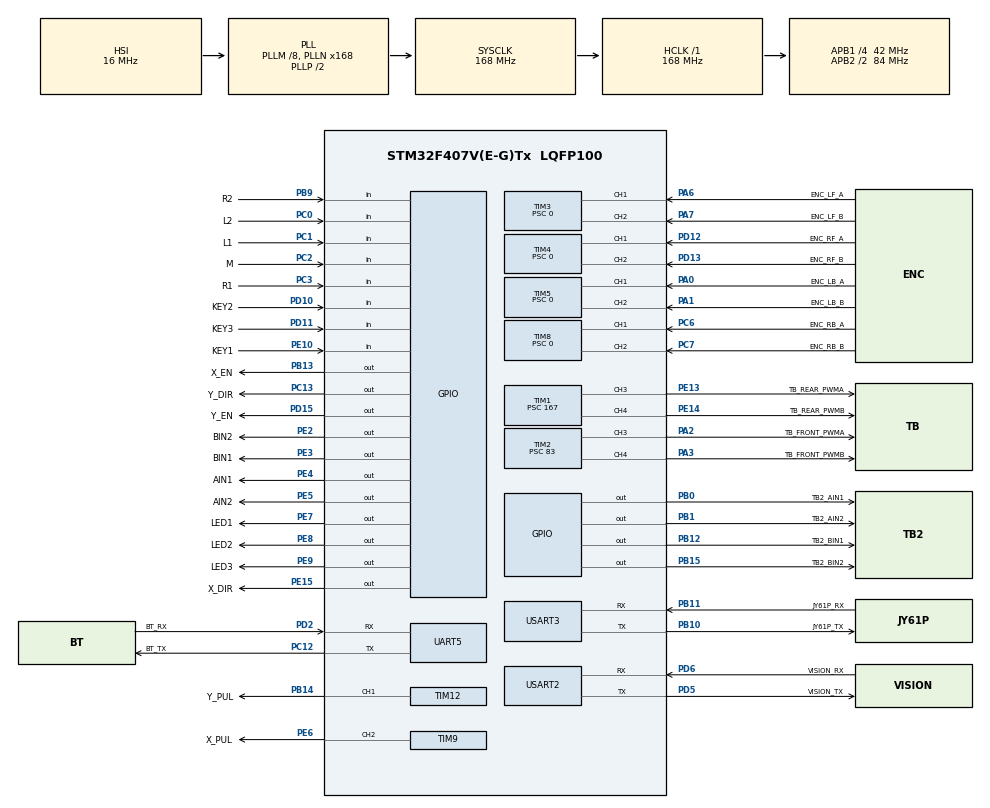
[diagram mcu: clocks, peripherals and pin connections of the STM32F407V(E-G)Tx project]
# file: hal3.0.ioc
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Dma.Request0=USART3_RX
Dma.Request1=UART5_RX
Dma.UART5_RX.0.Channel=DMA_CHANNEL_4
Dma.UART5_RX.0.Direction=DMA_PERIPH_TO_MEMORY
Dma.UART5_RX.0.FIFOMode=DMA_FIFOMODE_DISABLE
Dma.UART5_RX.0.Instance=DMA1_Stream0
Dma.UART5_RX.0.MemDataAlignment=DMA_MDATAALIGN_BYTE
Dma.UART5_RX.0.MemInc=DMA_MINC_ENABLE
Dma.UART5_RX.0.Mode=DMA_NORMAL
Dma.UART5_RX.0.PeriphDataAlignment=DMA_PDATAALIGN_BYTE
Dma.UART5_RX.0.PeriphInc=DMA_PINC_DISABLE
Dma.UART5_RX.0.Priority=DMA_PRIORITY_HIGH
Dma.USART3_RX.0.Direction=DMA_PERIPH_TO_MEMORY
Dma.USART3_RX.0.FIFOMode=DMA_FIFOMODE_DISABLE
Dma.USART3_RX.0.Instance=DMA1_Stream1
Dma.USART3_RX.0.MemDataAlignment=DMA_MDATAALIGN_BYTE
Dma.USART3_RX.0.MemInc=DMA_MINC_ENABLE
Dma.USART3_RX.0.Mode=DMA_NORMAL
Dma.USART3_RX.0.PeriphDataAlignment=DMA_PDATAALIGN_BYTE
Dma.USART3_RX.0.PeriphInc=DMA_PINC_DISABLE
Dma.USART3_RX.0.Priority=DMA_PRIORITY_HIGH
Mcu.Family=STM32F4
Mcu.Name=STM32F407V(E-G)Tx
Mcu.Package=LQFP100
NVIC.DMA1_Stream0_IRQn=true\:0\:0\:false\:false\:true\:false\:true\:true
NVIC.DMA1_Stream1_IRQn=true\:0\:0\:false\:false\:true\:false\:true\:true
NVIC.PriorityGroup=NVIC_PRIORITYGROUP_4
NVIC.TIM1_UP_TIM10_IRQn=true\:4\:0\:true\:false\:true\:true\:true\:true
NVIC.TIM6_DAC_IRQn=true\:3\:0\:true\:false\:true\:true\:true\:true
NVIC.UART5_IRQn=true\:2\:0\:true\:false\:true\:true\:true\:true
NVIC.USART2_IRQn=true\:2\:0\:true\:false\:true\:true\:true\:true
NVIC.USART3_IRQn=true\:2\:0\:true\:false\:true\:true\:true\:true
PA0-WKUP.GPIO_Label=ENC_LB_A
PA0-WKUP.GPIO_PuPd=GPIO_PULLUP
PA0-WKUP.Signal=S_TIM5_CH1
PA1.GPIO_Label=ENC_LB_B
PA1.GPIO_PuPd=GPIO_PULLUP
PA1.Signal=S_TIM5_CH2
PA13.Mode=Serial_Wire
PA13.Signal=SYS_JTMS-SWDIO
PA14.Mode=Serial_Wire
PA14.Signal=SYS_JTCK-SWCLK
PA2.GPIO_Label=TB_FRONT_PWMA
PA2.Signal=S_TIM2_CH3
PA3.GPIO_Label=TB_FRONT_PWMB
PA3.Signal=S_TIM2_CH4
PA6.GPIO_Label=ENC_LF_A
PA6.GPIO_PuPd=GPIO_PULLUP
PA6.Signal=S_TIM3_CH1
PA7.GPIO_Label=ENC_LF_B
PA7.GPIO_PuPd=GPIO_PULLUP
PA7.Signal=S_TIM3_CH2
PB0.GPIO_Label=TB2_AIN1
PB0.GPIO_Speed=GPIO_SPEED_FREQ_HIGH
PB0.Signal=GPIO_Output
PB1.GPIO_Label=TB2_AIN2
PB1.GPIO_Speed=GPIO_SPEED_FREQ_HIGH
PB1.Signal=GPIO_Output
PB10.GPIO_Label=JY61P_TX
PB10.Mode=Asynchronous
PB10.Signal=USART3_TX
PB11.GPIO_Label=JY61P_RX
PB11.Mode=Asynchronous
PB11.Signal=USART3_RX
PB12.GPIO_Label=TB2_BIN1
PB12.GPIO_Speed=GPIO_SPEED_FREQ_HIGH
PB12.Signal=GPIO_Output
PB13.GPIO_Label=X_EN
PB13.GPIO_PuPd=GPIO_PULLDOWN
PB13.Signal=GPIO_Output
PB14.GPIO_Label=Y_PUL
PB14.Signal=S_TIM12_CH1
PB15.GPIO_Label=TB2_BIN2
PB15.GPIO_Speed=GPIO_SPEED_FREQ_HIGH
PB15.Signal=GPIO_Output
PB9.GPIO_Label=R2
PB9.Signal=GPIO_Input
PC0.GPIO_Label=L2
PC0.Signal=GPIO_Input
PC1.GPIO_Label=L1
PC1.Signal=GPIO_Input
PC12.GPIO_Label=BT_TX
PC12.Mode=Asynchronous
PC12.Signal=UART5_TX
PC13-ANTI_TAMP.GPIO_Label=Y_DIR
PC13-ANTI_TAMP.GPIO_PuPd=GPIO_PULLDOWN
PC13-ANTI_TAMP.Signal=GPIO_Output
PC2.GPIO_Label=M
PC2.Signal=GPIO_Input
PC3.GPIO_Label=R1
PC3.Signal=GPIO_Input
PC6.GPIO_Label=ENC_RB_A
PC6.GPIO_PuPd=GPIO_PULLUP
PC6.Signal=S_TIM8_CH1
PC7.GPIO_Label=ENC_RB_B
PC7.GPIO_PuPd=GPIO_PULLUP
PC7.Signal=S_TIM8_CH2
PD10.GPIO_Label=KEY2
PD10.Signal=GPIO_Input
PD11.GPIO_Label=KEY3
PD11.Signal=GPIO_Input
PD12.GPIO_Label=ENC_RF_A
PD12.GPIO_PuPd=GPIO_PULLUP
PD12.Signal=S_TIM4_CH1
PD13.GPIO_Label=ENC_RF_B
PD13.GPIO_PuPd=GPIO_PULLUP
PD13.Signal=S_TIM4_CH2
PD15.GPIO_Label=Y_EN
PD15.GPIO_PuPd=GPIO_PULLDOWN
PD15.Signal=GPIO_Output
PD2.GPIO_Label=BT_RX
PD2.Mode=Asynchronous
PD2.Signal=UART5_RX
PD5.GPIO_Label=VISION_TX
PD5.Mode=Asynchronous
PD5.Signal=USART2_TX
PD6.GPIO_Label=VISION_RX
PD6.Mode=Asynchronous
PD6.Signal=USART2_RX
PE10.GPIO_Label=KEY1
PE10.Signal=GPIO_Input
PE13.GPIO_Label=TB_REAR_PWMA
PE13.Signal=S_TIM1_CH3
PE14.GPIO_Label=TB_REAR_PWMB
PE14.Signal=S_TIM1_CH4
PE15.GPIO_Label=X_DIR
PE15.GPIO_PuPd=GPIO_PULLDOWN
PE15.Signal=GPIO_Output
PE2.GPIO_Label=BIN2
PE2.GPIO_Speed=GPIO_SPEED_FREQ_HIGH
PE2.Signal=GPIO_Output
PE3.GPIO_Label=BIN1
PE3.GPIO_Speed=GPIO_SPEED_FREQ_HIGH
PE3.Signal=GPIO_Output
PE4.GPIO_Label=AIN1
PE4.GPIO_Speed=GPIO_SPEED_FREQ_HIGH
PE4.Signal=GPIO_Output
PE5.GPIO_Label=AIN2
PE5.GPIO_Speed=GPIO_SPEED_FREQ_HIGH
PE5.Signal=GPIO_Output
PE6.GPIO_Label=X_PUL
PE6.Signal=S_TIM9_CH2
PE7.GPIO_Label=LED1
PE7.Signal=GPIO_Output
PE8.GPIO_Label=LED2
PE8.Signal=GPIO_Output
PE9.GPIO_Label=LED3
PE9.Signal=GPIO_Output
PH0-OSC_IN.Mode=HSE-External-Oscillator
PH0-OSC_IN.Signal=RCC_OSC_IN
PH1-OSC_OUT.Mode=HSE-External-Oscillator
PH1-OSC_OUT.Signal=RCC_OSC_OUT
ProjectManager.HeapSize=0x200
ProjectManager.StackSize=0x400
ProjectManager.TargetToolchain=CMake
RCC.48MHZClocksFreq_Value=84000000
RCC.AHBFreq_Value=168000000
RCC.APB1CLKDivider=RCC_HCLK_DIV4
RCC.APB1Freq_Value=42000000
RCC.APB1TimFreq_Value=84000000
RCC.APB2CLKDivider=RCC_HCLK_DIV2
RCC.APB2Freq_Value=84000000
RCC.APB2TimFreq_Value=168000000
RCC.CortexFreq_Value=168000000
RCC.HCLKFreq_Value=168000000
RCC.HSE_VALUE=8000000
RCC.HSI_VALUE=16000000
RCC.LSE_VALUE=32768
RCC.PLLM=8
RCC.PLLN=168
RCC.SYSCLKFreq_VALUE=168000000
RCC.SYSCLKSource=RCC_SYSCLKSOURCE_PLLCLK
RCC.VCOOutputFreq_Value=336000000
SH.S_TIM12_CH1.0=TIM12_CH1,PWM Generation1 CH1
SH.S_TIM1_CH3.0=TIM1_CH3,PWM Generation3 CH3
SH.S_TIM1_CH4.0=TIM1_CH4,PWM Generation4 CH4
SH.S_TIM2_CH3.0=TIM2_CH3,PWM Generation3 CH3
SH.S_TIM2_CH4.0=TIM2_CH4,PWM Generation4 CH4
SH.S_TIM3_CH1.0=TIM3_CH1,Encoder_Interface
SH.S_TIM3_CH2.0=TIM3_CH2,Encoder_Interface
SH.S_TIM4_CH1.0=TIM4_CH1,Encoder_Interface
SH.S_TIM4_CH2.0=TIM4_CH2,Encoder_Interface
SH.S_TIM5_CH1.0=TIM5_CH1,Encoder_Interface
SH.S_TIM5_CH2.0=TIM5_CH2,Encoder_Interface
SH.S_TIM8_CH1.0=TIM8_CH1,Encoder_Interface
SH.S_TIM8_CH2.0=TIM8_CH2,Encoder_Interface
SH.S_TIM9_CH2.0=TIM9_CH2,PWM Generation2 CH2
TIM1.AutoReloadPreload=TIM_AUTORELOAD_PRELOAD_ENABLE
TIM1.Channel-PWM\ Generation3\ CH3=TIM_CHANNEL_3
TIM1.Channel-PWM\ Generation4\ CH4=TIM_CHANNEL_4
TIM1.Period=8399
TIM1.Prescaler=167
TIM1.Pulse-PWM\ Generation3\ CH3=0
TIM1.Pulse-PWM\ Generation4\ CH4=0
TIM12.AutoReloadPreload=TIM_AUTORELOAD_PRELOAD_ENABLE
TIM12.Channel-PWM\ Generation1\ CH1=TIM_CHANNEL_1
TIM12.Period=1999
TIM12.Prescaler=83
TIM12.Pulse-PWM\ Generation1\ CH1=500
TIM2.AutoReloadPreload=TIM_AUTORELOAD_PRELOAD_ENABLE
TIM2.Channel-PWM\ Generation3\ CH3=TIM_CHANNEL_3
TIM2.Channel-PWM\ Generation4\ CH4=TIM_CHANNEL_4
TIM2.Period=8399
TIM2.Prescaler=83
TIM2.Pulse-PWM\ Generation3\ CH3=0
TIM2.Pulse-PWM\ Generation4\ CH4=0
TIM3.EncoderMode=TIM_ENCODERMODE_TI12
TIM3.IC1Filter=0
TIM3.IC1Polarity=TIM_ICPOLARITY_RISING
TIM3.IC1Prescaler=TIM_ICPSC_DIV1
TIM3.IC1Selection=TIM_ICSELECTION_DIRECTTI
TIM3.IC2Filter=0
TIM3.IC2Polarity=TIM_ICPOLARITY_RISING
TIM3.IC2Prescaler=TIM_ICPSC_DIV1
TIM3.IC2Selection=TIM_ICSELECTION_DIRECTTI
TIM3.Period=65535
TIM3.Prescaler=0
TIM4.EncoderMode=TIM_ENCODERMODE_TI12
TIM4.IC1Filter=0
TIM4.IC1Polarity=TIM_ICPOLARITY_RISING
TIM4.IC1Prescaler=TIM_ICPSC_DIV1
TIM4.IC1Selection=TIM_ICSELECTION_DIRECTTI
TIM4.IC2Filter=0
TIM4.IC2Polarity=TIM_ICPOLARITY_RISING
TIM4.IC2Prescaler=TIM_ICPSC_DIV1
TIM4.IC2Selection=TIM_ICSELECTION_DIRECTTI
TIM4.Period=65535
TIM4.Prescaler=0
TIM5.EncoderMode=TIM_ENCODERMODE_TI12
TIM5.IC1Filter=0
TIM5.IC1Polarity=TIM_ICPOLARITY_RISING
TIM5.IC1Prescaler=TIM_ICPSC_DIV1
TIM5.IC1Selection=TIM_ICSELECTION_DIRECTTI
TIM5.IC2Filter=0
TIM5.IC2Polarity=TIM_ICPOLARITY_RISING
TIM5.IC2Prescaler=TIM_ICPSC_DIV1
TIM5.IC2Selection=TIM_ICSELECTION_DIRECTTI
TIM5.Period=4294967295
TIM5.Prescaler=0
TIM6.Period=9999
TIM6.Prescaler=83
TIM8.EncoderMode=TIM_ENCODERMODE_TI12
TIM8.IC1Filter=0
TIM8.IC1Polarity=TIM_ICPOLARITY_RISING
TIM8.IC1Prescaler=TIM_ICPSC_DIV1
TIM8.IC1Selection=TIM_ICSELECTION_DIRECTTI
TIM8.IC2Filter=0
TIM8.IC2Polarity=TIM_ICPOLARITY_RISING
TIM8.IC2Prescaler=TIM_ICPSC_DIV1
TIM8.IC2Selection=TIM_ICSELECTION_DIRECTTI
TIM8.Period=65535
TIM8.Prescaler=0
TIM9.AutoReloadPreload=TIM_AUTORELOAD_PRELOAD_ENABLE
TIM9.Channel-PWM\ Generation2\ CH2=TIM_CHANNEL_2
TIM9.Period=1999
TIM9.Prescaler=167
TIM9.Pulse-PWM\ Generation2\ CH2=500
UART5.VirtualMode=Asynchronous
USART2.VirtualMode=VM_ASYNC
USART3.VirtualMode=VM_ASYNC
VP_TIM12_VS_ClockSourceINT.Mode=Internal
VP_TIM1_VS_ClockSourceINT.Mode=Internal
VP_TIM2_VS_ClockSourceINT.Mode=Internal
VP_TIM6_VS_ClockSourceINT.Mode=Enable_Timer
VP_TIM9_VS_ClockSourceINT.Mode=Internal
board=custom

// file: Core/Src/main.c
/* USER CODE BEGIN Header */
/**
  ******************************************************************************
  * @file           : main.c
  * @brief          : Main program body
  ******************************************************************************
  * @attention
  *
  * Copyright (c) 2026 STMicroelectronics.
  * All rights reserved.
  *
  * This software is licensed under terms that can be found in the LICENSE file
  * in the root directory of this software component.
  * If no LICENSE file comes with this software, it is provided AS-IS.
  *
  ******************************************************************************
  */
/* USER CODE END Header */
#include "main.h"
#include "dma.h"
#include "tim.h"
#include "usart.h"
#include "gpio.h"

/* USER CODE BEGIN Includes */
#include "app_motion.h"
#include "app_sensor.h"
#include "app_imu.h"
#include "app_vision.h"
#include "app_gimbal.h"
#include "app_aim.h"
#include "app_bt.h"
#include "app_track.h"
#include "app_turn.h"
#include "app_task.h"

/* USER CODE END Includes */

void SystemClock_Config(void);

int main(void)
{

  /* MCU Configuration--------------------------------------------------------*/

  /* Reset of all peripherals, Initializes the Flash interface and the Systick. */
  HAL_Init();

  /* Configure the system clock */
  SystemClock_Config();

  /* Initialize all configured peripherals */
  MX_GPIO_Init();
  MX_DMA_Init();
  MX_TIM1_Init();
  MX_TIM2_Init();
  MX_TIM3_Init();
  MX_TIM4_Init();
  MX_TIM5_Init();
  MX_TIM6_Init();
  MX_TIM8_Init();
  MX_TIM9_Init();
  MX_TIM12_Init();
  MX_USART3_UART_Init();
  MX_USART2_UART_Init();
  MX_UART5_Init();
  /* USER CODE BEGIN 2 */
  Motion_Init();
  AppSensor_Init();
  Imu_Init();
  Vision_Init();
  Gimbal_Init();
  Aim_Init();
  Turn_Init();
  Track_Init();
  Task_Init();
  BT_Init();

  /* USER CODE END 2 */

  /* Infinite loop */
  while (1)
  {

    /* USER CODE BEGIN 3 */
    Imu_Poll();
    Vision_Poll();
    Gimbal_Poll();
    Aim_Poll();
    AppSensor_Poll();
    Turn_Poll();
    Track_Poll();
    Task_Poll();
    BT_Poll();
    Motion_Poll();
  }
  /* USER CODE END 3 */
}

void SystemClock_Config(void)
{
  RCC_OscInitTypeDef RCC_OscInitStruct = {0};
  RCC_ClkInitTypeDef RCC_ClkInitStruct = {0};

  /** Configure the main internal regulator output voltage
  */
  __HAL_RCC_PWR_CLK_ENABLE();
  __HAL_PWR_VOLTAGESCALING_CONFIG(PWR_REGULATOR_VOLTAGE_SCALE1);

  /** Initializes the RCC Oscillators according to the specified parameters
  * in the RCC_OscInitTypeDef structure.
  */
  RCC_OscInitStruct.OscillatorType = RCC_OSCILLATORTYPE_HSI;
  RCC_OscInitStruct.HSIState = RCC_HSI_ON;
  RCC_OscInitStruct.HSICalibrationValue = RCC_HSICALIBRATION_DEFAULT;
  RCC_OscInitStruct.PLL.PLLState = RCC_PLL_ON;
  RCC_OscInitStruct.PLL.PLLSource = RCC_PLLSOURCE_HSI;
  RCC_OscInitStruct.PLL.PLLM = 8;
  RCC_OscInitStruct.PLL.PLLN = 168;
  RCC_OscInitStruct.PLL.PLLP = RCC_PLLP_DIV2;
  RCC_OscInitStruct.PLL.PLLQ = 4;
  if (HAL_RCC_OscConfig(&RCC_OscInitStruct) != HAL_OK)
  {
    Error_Handler();
  }

  /** Initializes the CPU, AHB and APB buses clocks
  */
  RCC_ClkInitStruct.ClockType = RCC_CLOCKTYPE_HCLK|RCC_CLOCKTYPE_SYSCLK
                              |RCC_CLOCKTYPE_PCLK1|RCC_CLOCKTYPE_PCLK2;
  RCC_ClkInitStruct.SYSCLKSource = RCC_SYSCLKSOURCE_PLLCLK;
  RCC_ClkInitStruct.AHBCLKDivider = RCC_SYSCLK_DIV1;
  RCC_ClkInitStruct.APB1CLKDivider = RCC_HCLK_DIV4;
  RCC_ClkInitStruct.APB2CLKDivider = RCC_HCLK_DIV2;

  if (HAL_RCC_ClockConfig(&RCC_ClkInitStruct, FLASH_LATENCY_5) != HAL_OK)
  {
    Error_Handler();
  }
}

void Error_Handler(void)
{
  __disable_irq();
  while (1)
  {
  }
}
